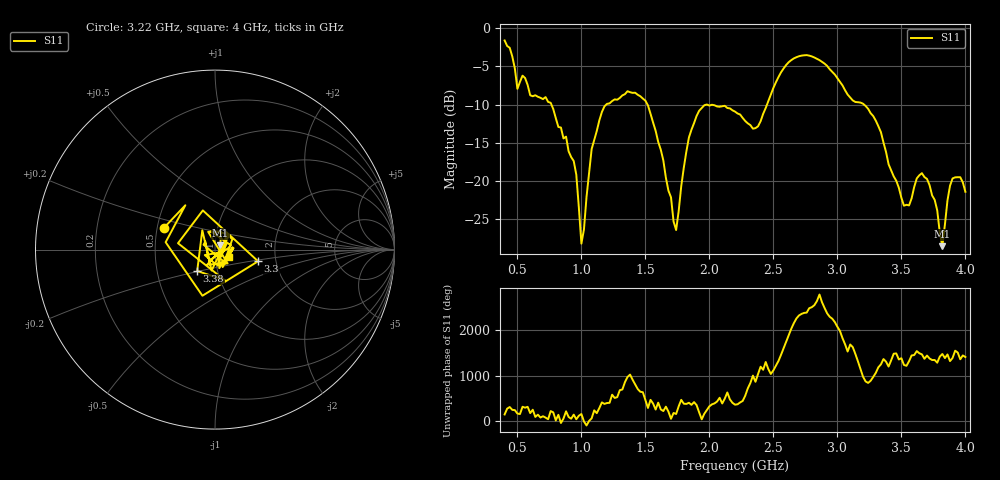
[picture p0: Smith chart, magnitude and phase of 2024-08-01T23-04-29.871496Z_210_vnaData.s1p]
!Created with skrf (http://scikit-rf.org).
# Hz S RI R 50.0
!freq ReS11 ImS11
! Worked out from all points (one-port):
!   181 points, 400 MHz to 4 GHz, reference 50 ohm
!   lowest |S11| = -28.5 dB at 3.82 GHz (marker M1), VSWR 1.08, Z = 53 + j2.51 ohm
!   |S11| at or under -10 dB: 1.517 GHz to 1.976 GHz (458.7 MHz wide, 26.3 % of centre); 1.983 GHz to 2.45 GHz (466.5 MHz wide, 21 % of centre); 3.209 GHz to end of sweep (the widest 3 of 4)
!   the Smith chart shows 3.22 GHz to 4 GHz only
!   S11 on the Smith chart (normalised r, x): 3.22 GHz: 0.54, +0.14; 3.3 GHz: 1.61, -0.22; 3.38 GHz: 0.80, -0.19; 4 GHz: 1.16, -0.09
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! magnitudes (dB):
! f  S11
! 400 MHz  -1.6
! 500 MHz  -7.9
! 720 MHz  -9.0
! 860 MHz  -14.4
! 960 MHz  -19.1
! 1 GHz  -28.2
! 1.08 GHz  -15.8
! 1.18 GHz  -10.2
! 1.3 GHz  -9.1
! 1.52 GHz  -10.1
! 1.72 GHz  -25.3
! 1.76 GHz  -23.9
! 1.84 GHz  -14.3
! 1.92 GHz  -10.8
! 2.2 GHz  -10.9
! 2.38 GHz  -12.8
! 2.66 GHz  -3.9
! 2.9 GHz  -4.6
! 3.1 GHz  -9.1
! 3.22 GHz  -10.2
! 3.3 GHz  -12.1
! 3.38 GHz  -16.2
! 3.56 GHz  -23.2
! 3.62 GHz  -19.6
! 3.7 GHz  -19.7
! 3.82 GHz  -28.5
! 3.9 GHz  -19.6
! 4 GHz  -21.4
